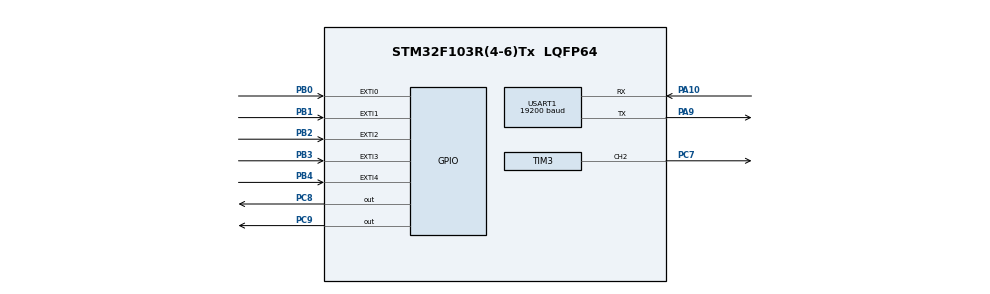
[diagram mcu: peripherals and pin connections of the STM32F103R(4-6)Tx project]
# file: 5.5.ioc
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Mcu.Family=STM32F1
Mcu.Name=STM32F103R(4-6)Tx
Mcu.Package=LQFP64
NVIC.EXTI0_IRQn=true\:0\:0\:false\:false\:true\:true\:true
NVIC.EXTI1_IRQn=true\:0\:0\:false\:false\:true\:true\:true
NVIC.EXTI2_IRQn=true\:0\:0\:false\:false\:true\:true\:true
NVIC.EXTI3_IRQn=true\:0\:0\:false\:false\:true\:true\:true
NVIC.EXTI4_IRQn=true\:0\:0\:false\:false\:true\:true\:true
NVIC.PriorityGroup=NVIC_PRIORITYGROUP_4
PA10.Mode=Asynchronous
PA10.Signal=USART1_RX
PA9.Mode=Asynchronous
PA9.Signal=USART1_TX
PB0.GPIO_ModeDefaultEXTI=GPIO_MODE_IT_FALLING
PB0.GPIO_PuPd=GPIO_PULLUP
PB0.Signal=GPXTI0
PB1.GPIO_ModeDefaultEXTI=GPIO_MODE_IT_FALLING
PB1.GPIO_PuPd=GPIO_PULLUP
PB1.Signal=GPXTI1
PB2.GPIO_ModeDefaultEXTI=GPIO_MODE_IT_FALLING
PB2.GPIO_PuPd=GPIO_PULLUP
PB2.Signal=GPXTI2
PB3.GPIO_ModeDefaultEXTI=GPIO_MODE_IT_FALLING
PB3.GPIO_PuPd=GPIO_PULLUP
PB3.Signal=GPXTI3
PB4.GPIO_ModeDefaultEXTI=GPIO_MODE_IT_FALLING
PB4.GPIO_PuPd=GPIO_PULLUP
PB4.Signal=GPXTI4
PC7.GPIO_ModeDefaultPP=GPIO_MODE_AF_OD
PC7.GPIO_Speed=GPIO_SPEED_FREQ_HIGH
PC7.Signal=S_TIM3_CH2
PC8.GPIO_ModeDefaultOutputPP=GPIO_MODE_OUTPUT_OD
PC8.GPIO_PuPd=GPIO_NOPULL
PC8.Signal=GPIO_Output
PC9.GPIO_ModeDefaultOutputPP=GPIO_MODE_OUTPUT_OD
PC9.GPIO_PuPd=GPIO_NOPULL
PC9.Signal=GPIO_Output
ProjectManager.HeapSize=0x200
ProjectManager.StackSize=0x400
ProjectManager.TargetToolchain=STM32CubeIDE
RCC.APB1Freq_Value=8000000
RCC.APB2Freq_Value=8000000
SH.S_TIM3_CH2.0=TIM3_CH2,PWM Generation2 CH2
TIM3.Channel-PWM\ Generation2\ CH2=TIM_CHANNEL_2
TIM3.OCPolarity_2=TIM_OCPOLARITY_LOW
TIM3.Period=99
TIM3.Prescaler=79
USART1.BaudRate=19200
USART1.VirtualMode=VM_ASYNC
VP_SYS_VS_ND.Mode=No_Debug
VP_TIM3_VS_ClockSourceINT.Mode=Internal
board=custom

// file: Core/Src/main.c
/* USER CODE BEGIN Header */
/**
  ******************************************************************************
  * @file           : main.c
  * @brief          : Main program body
  ******************************************************************************
  * @attention
  *
  * <h2><center>&copy; Copyright (c) 2020 STMicroelectronics.
  * All rights reserved.</center></h2>
  *
  * This software component is licensed by ST under BSD 3-Clause license,
  * the "License"; You may not use this file except in compliance with the
  * License. You may obtain a copy of the License at:
  *                        opensource.org/licenses/BSD-3-Clause
  *
  ******************************************************************************
  */
/* USER CODE END Header */
#include "main.h"

/* USER CODE BEGIN Includes */
#include "stdio.h"
/* USER CODE END Includes */

TIM_HandleTypeDef htim3;
UART_HandleTypeDef huart1;

/* USER CODE BEGIN PV */
uint16_t cmpv=80;
uint8_t rf=0;
/* USER CODE END PV */

void SystemClock_Config(void);
static void MX_GPIO_Init(void);
static void MX_TIM3_Init(void);
static void MX_USART1_UART_Init(void);

int main(void)
{
  /* USER CODE BEGIN 1 */
	char str[4];
  /* USER CODE END 1 */

  /* MCU Configuration--------------------------------------------------------*/

  /* Reset of all peripherals, Initializes the Flash interface and the Systick. */
  HAL_Init();

  /* Configure the system clock */
  SystemClock_Config();

  /* Initialize all configured peripherals */
  MX_GPIO_Init();
  MX_TIM3_Init();
  MX_USART1_UART_Init();
  /* USER CODE BEGIN 2 */
  HAL_TIM_PWM_Start(&htim3,TIM_CHANNEL_2);
  __HAL_TIM_SET_COMPARE(&htim3,TIM_CHANNEL_2,cmpv);
  HAL_GPIO_WritePin(GPIOC, GPIO_PIN_8, GPIO_PIN_RESET);
  HAL_GPIO_WritePin(GPIOC, GPIO_PIN_9, GPIO_PIN_RESET);
  /* USER CODE END 2 */

  /* Infinite loop */
  /* USER CODE BEGIN WHILE */
  while (1)
  {
	  if(rf==1)
	  {
		  HAL_UART_Transmit(&huart1,&"PWM:",4,4);
		  sprintf(str,"%d",cmpv);
		  HAL_UART_Transmit(&huart1,str,3,3);
		  HAL_UART_Transmit(&huart1,&"\n\r",2,2);
		  rf=0;
	  }
    /* USER CODE END WHILE */

  }
}

void SystemClock_Config(void)
{
  RCC_OscInitTypeDef RCC_OscInitStruct = {0};
  RCC_ClkInitTypeDef RCC_ClkInitStruct = {0};

  /** Initializes the RCC Oscillators according to the specified parameters
  * in the RCC_OscInitTypeDef structure.
  */
  RCC_OscInitStruct.OscillatorType = RCC_OSCILLATORTYPE_HSI;
  RCC_OscInitStruct.HSIState = RCC_HSI_ON;
  RCC_OscInitStruct.HSICalibrationValue = RCC_HSICALIBRATION_DEFAULT;
  RCC_OscInitStruct.PLL.PLLState = RCC_PLL_NONE;
  if (HAL_RCC_OscConfig(&RCC_OscInitStruct) != HAL_OK)
  {
    Error_Handler();
  }
  /** Initializes the CPU, AHB and APB buses clocks
  */
  RCC_ClkInitStruct.ClockType = RCC_CLOCKTYPE_HCLK|RCC_CLOCKTYPE_SYSCLK
                              |RCC_CLOCKTYPE_PCLK1|RCC_CLOCKTYPE_PCLK2;
  RCC_ClkInitStruct.SYSCLKSource = RCC_SYSCLKSOURCE_HSI;
  RCC_ClkInitStruct.AHBCLKDivider = RCC_SYSCLK_DIV1;
  RCC_ClkInitStruct.APB1CLKDivider = RCC_HCLK_DIV1;
  RCC_ClkInitStruct.APB2CLKDivider = RCC_HCLK_DIV1;

  if (HAL_RCC_ClockConfig(&RCC_ClkInitStruct, FLASH_LATENCY_0) != HAL_OK)
  {
    Error_Handler();
  }
}

static void MX_TIM3_Init(void)
{

  TIM_ClockConfigTypeDef sClockSourceConfig = {0};
  TIM_MasterConfigTypeDef sMasterConfig = {0};
  TIM_OC_InitTypeDef sConfigOC = {0};

  htim3.Instance = TIM3;
  htim3.Init.Prescaler = 79;
  htim3.Init.CounterMode = TIM_COUNTERMODE_UP;
  htim3.Init.Period = 99;
  htim3.Init.ClockDivision = TIM_CLOCKDIVISION_DIV1;
  htim3.Init.AutoReloadPreload = TIM_AUTORELOAD_PRELOAD_DISABLE;
  if (HAL_TIM_Base_Init(&htim3) != HAL_OK)
  {
    Error_Handler();
  }
  sClockSourceConfig.ClockSource = TIM_CLOCKSOURCE_INTERNAL;
  if (HAL_TIM_ConfigClockSource(&htim3, &sClockSourceConfig) != HAL_OK)
  {
    Error_Handler();
  }
  if (HAL_TIM_PWM_Init(&htim3) != HAL_OK)
  {
    Error_Handler();
  }
  sMasterConfig.MasterOutputTrigger = TIM_TRGO_RESET;
  sMasterConfig.MasterSlaveMode = TIM_MASTERSLAVEMODE_DISABLE;
  if (HAL_TIMEx_MasterConfigSynchronization(&htim3, &sMasterConfig) != HAL_OK)
  {
    Error_Handler();
  }
  sConfigOC.OCMode = TIM_OCMODE_PWM1;
  sConfigOC.Pulse = 0;
  sConfigOC.OCPolarity = TIM_OCPOLARITY_LOW;
  sConfigOC.OCFastMode = TIM_OCFAST_DISABLE;
  if (HAL_TIM_PWM_ConfigChannel(&htim3, &sConfigOC, TIM_CHANNEL_2) != HAL_OK)
  {
    Error_Handler();
  }
  HAL_TIM_MspPostInit(&htim3);

}

static void MX_USART1_UART_Init(void)
{

  huart1.Instance = USART1;
  huart1.Init.BaudRate = 19200;
  huart1.Init.WordLength = UART_WORDLENGTH_8B;
  huart1.Init.StopBits = UART_STOPBITS_1;
  huart1.Init.Parity = UART_PARITY_NONE;
  huart1.Init.Mode = UART_MODE_TX_RX;
  huart1.Init.HwFlowCtl = UART_HWCONTROL_NONE;
  huart1.Init.OverSampling = UART_OVERSAMPLING_16;
  if (HAL_UART_Init(&huart1) != HAL_OK)
  {
    Error_Handler();
  }

}

static void MX_GPIO_Init(void)
{
  GPIO_InitTypeDef GPIO_InitStruct = {0};

  /* GPIO Ports Clock Enable */
  __HAL_RCC_GPIOB_CLK_ENABLE();
  __HAL_RCC_GPIOC_CLK_ENABLE();
  __HAL_RCC_GPIOA_CLK_ENABLE();

  /*Configure GPIO pin Output Level */
  HAL_GPIO_WritePin(GPIOC, GPIO_PIN_8|GPIO_PIN_9, GPIO_PIN_RESET);

  /*Configure GPIO pins : PB0 PB1 PB2 PB3
                           PB4 */
  GPIO_InitStruct.Pin = GPIO_PIN_0|GPIO_PIN_1|GPIO_PIN_2|GPIO_PIN_3
                          |GPIO_PIN_4;
  GPIO_InitStruct.Mode = GPIO_MODE_IT_FALLING;
  GPIO_InitStruct.Pull = GPIO_PULLUP;
  HAL_GPIO_Init(GPIOB, &GPIO_InitStruct);

  /*Configure GPIO pins : PC8 PC9 */
  GPIO_InitStruct.Pin = GPIO_PIN_8|GPIO_PIN_9;
  GPIO_InitStruct.Mode = GPIO_MODE_OUTPUT_OD;
  GPIO_InitStruct.Pull = GPIO_NOPULL;
  GPIO_InitStruct.Speed = GPIO_SPEED_FREQ_LOW;
  HAL_GPIO_Init(GPIOC, &GPIO_InitStruct);

  /* EXTI interrupt init*/
  HAL_NVIC_SetPriority(EXTI0_IRQn, 0, 0);
  HAL_NVIC_EnableIRQ(EXTI0_IRQn);

  HAL_NVIC_SetPriority(EXTI1_IRQn, 0, 0);
  HAL_NVIC_EnableIRQ(EXTI1_IRQn);

  HAL_NVIC_SetPriority(EXTI2_IRQn, 0, 0);
  HAL_NVIC_EnableIRQ(EXTI2_IRQn);

  HAL_NVIC_SetPriority(EXTI3_IRQn, 0, 0);
  HAL_NVIC_EnableIRQ(EXTI3_IRQn);

  HAL_NVIC_SetPriority(EXTI4_IRQn, 0, 0);
  HAL_NVIC_EnableIRQ(EXTI4_IRQn);

}

/* USER CODE BEGIN 4 */
void HAL_GPIO_EXTI_Callback(uint16_t GPIO_Pin)
{
	if     (GPIO_Pin==GPIO_PIN_0)
	{
		HAL_GPIO_WritePin(GPIOC, GPIO_PIN_8, GPIO_PIN_SET);
		HAL_GPIO_WritePin(GPIOC, GPIO_PIN_9, GPIO_PIN_RESET);
		rf=1;
	}
	else if(GPIO_Pin==GPIO_PIN_1)
	{
		HAL_GPIO_WritePin(GPIOC, GPIO_PIN_8, GPIO_PIN_RESET);
		HAL_GPIO_WritePin(GPIOC, GPIO_PIN_9, GPIO_PIN_SET);
		rf=1;
	}
	else if(GPIO_Pin==GPIO_PIN_2)
	{
		HAL_GPIO_WritePin(GPIOC, GPIO_PIN_8|GPIO_PIN_9, GPIO_PIN_RESET);
	}
	else if(GPIO_Pin==GPIO_PIN_3)
	{
		if(cmpv<100)cmpv+=10;
		__HAL_TIM_SET_COMPARE(&htim3,TIM_CHANNEL_2,cmpv);
		rf=1;
	}
	else if(GPIO_Pin==GPIO_PIN_4)
	{
		if(cmpv>0)cmpv-=10;
		__HAL_TIM_SET_COMPARE(&htim3,TIM_CHANNEL_2,cmpv);
		rf=1;
	}
}
/* USER CODE END 4 */

void Error_Handler(void)
{
}

/************************ (C) COPYRIGHT STMicroelectronics *****END OF FILE****/
